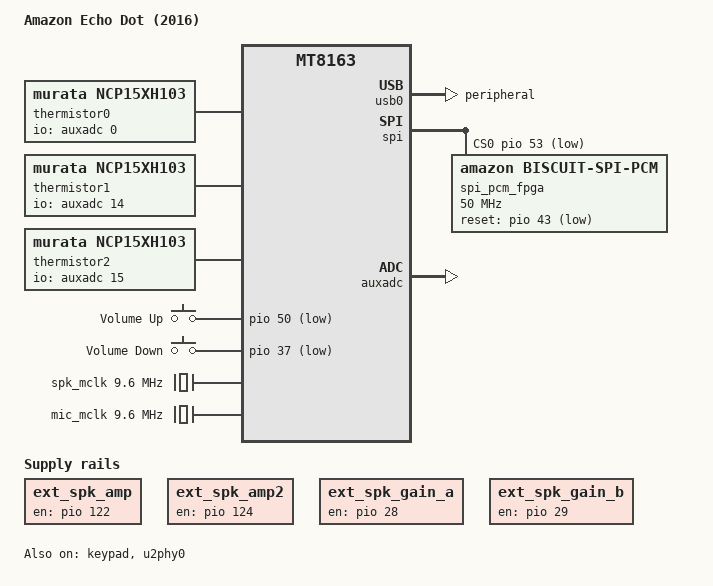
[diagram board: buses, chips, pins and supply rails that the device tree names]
// SPDX-License-Identifier: GPL-2.0-only OR MIT
/*
 * Copyright (c) 2025-2026 Ben Grisdale <bengris32@protonmail.ch>
 */

/dts-v1/;
#include <dt-bindings/gpio/gpio.h>
#include <dt-bindings/input/input.h>
#include <dt-bindings/leds/common.h>

#include "mt8163-amazon-common.dtsi"
#include "mt8163-headless.dtsi"
#include "mt8163-amazon-biscuit-peripherals.dtsi"

/ {
	model = "Amazon Echo Dot (2016)";
	compatible = "amazon,biscuit", "mediatek,mt8163";
	chassis-type = "embedded";
	/* Needed by stock bootloader */
	version = "evt";

	/*
	 * The 12-LED RGB light ring, grouped.
	 *
	 * The IS31FL3236 driver exposes the ring as 36 independent
	 * single-colour channels (biscuit:ringN:{red,green,blue}), labelled in
	 * mt8163-amazon-biscuit-peripherals.dtsi. leds-group-multicolor fuses
	 * each ring's three channels into one LED_COLOR_ID_MULTI device so a
	 * colour and a single brightness can be set per physical LED, which is
	 * how the ring is meant to be driven.
	 *
	 * This grouping was dropped once before because the appended DTB grew
	 * past the stock bootloader's IDME/FDT-injection size limit and was
	 * silently discarded. We no longer boot that way - u-boot loads the DTB
	 * from raw sectors of the recovery partition - so it can come back.
	 */
	led-ring-mc {
		compatible = "simple-bus";

		led-ring1 { compatible = "leds-group-multicolor"; color = <LED_COLOR_ID_RGB>; function = "ring1";
			leds = <&ring1_red>, <&ring1_green>, <&ring1_blue>; };
		led-ring2 { compatible = "leds-group-multicolor"; color = <LED_COLOR_ID_RGB>; function = "ring2";
			leds = <&ring2_red>, <&ring2_green>, <&ring2_blue>; };
		led-ring3 { compatible = "leds-group-multicolor"; color = <LED_COLOR_ID_RGB>; function = "ring3";
			leds = <&ring3_red>, <&ring3_green>, <&ring3_blue>; };
		led-ring4 { compatible = "leds-group-multicolor"; color = <LED_COLOR_ID_RGB>; function = "ring4";
			leds = <&ring4_red>, <&ring4_green>, <&ring4_blue>; };
		led-ring5 { compatible = "leds-group-multicolor"; color = <LED_COLOR_ID_RGB>; function = "ring5";
			leds = <&ring5_red>, <&ring5_green>, <&ring5_blue>; };
		led-ring6 { compatible = "leds-group-multicolor"; color = <LED_COLOR_ID_RGB>; function = "ring6";
			leds = <&ring6_red>, <&ring6_green>, <&ring6_blue>; };
		led-ring7 { compatible = "leds-group-multicolor"; color = <LED_COLOR_ID_RGB>; function = "ring7";
			leds = <&ring7_red>, <&ring7_green>, <&ring7_blue>; };
		led-ring8 { compatible = "leds-group-multicolor"; color = <LED_COLOR_ID_RGB>; function = "ring8";
			leds = <&ring8_red>, <&ring8_green>, <&ring8_blue>; };
		led-ring9 { compatible = "leds-group-multicolor"; color = <LED_COLOR_ID_RGB>; function = "ring9";
			leds = <&ring9_red>, <&ring9_green>, <&ring9_blue>; };
		led-ring10 { compatible = "leds-group-multicolor"; color = <LED_COLOR_ID_RGB>; function = "ring10";
			leds = <&ring10_red>, <&ring10_green>, <&ring10_blue>; };
		led-ring11 { compatible = "leds-group-multicolor"; color = <LED_COLOR_ID_RGB>; function = "ring11";
			leds = <&ring11_red>, <&ring11_green>, <&ring11_blue>; };
		led-ring12 { compatible = "leds-group-multicolor"; color = <LED_COLOR_ID_RGB>; function = "ring12";
			leds = <&ring12_red>, <&ring12_green>, <&ring12_blue>; };
	};

	/*
	 * Board thermistors. Amazon's downstream driver models these as a
	 * proprietary "virtual_sensor_thermistor", but the hardware is plain:
	 * three 10k NTCs, each pulled up to 1.8V through 10k into an AUXADC
	 * input (their mtk_ts_board_biscuit.h: pull_up_R=10000,
	 * pull_up_voltage=1800, channels AUX_IN 0/14/15).
	 *
	 * Their comments claim "100K" but the parts are 10k: the same header
	 * gives 195652 ohm as the -40C reference, and 195652 is exactly the
	 * first entry of mainline's ncpXXxh103 table (a 100k part is ~4M at
	 * -40C). Measured, the three channels sit at 611-646mV, which through
	 * R = pullup_ohm * V / (pullup_uv - V) - the very formula their
	 * mtk_ts_bts.c used - is ~5.4k, i.e. ~37C on a 10k curve and a
	 * nonsensical ~105C on a 100k one. So: murata,ncp15xh103.
	 */
	thermistor0: thermistor-0 {
		compatible = "murata,ncp15xh103";
		pullup-uv = <1800000>;
		pullup-ohm = <10000>;
		pulldown-ohm = <0>;
		io-channels = <&auxadc 0>;
	};

	thermistor1: thermistor-1 {
		compatible = "murata,ncp15xh103";
		pullup-uv = <1800000>;
		pullup-ohm = <10000>;
		pulldown-ohm = <0>;
		io-channels = <&auxadc 14>;
	};

	thermistor2: thermistor-2 {
		compatible = "murata,ncp15xh103";
		pullup-uv = <1800000>;
		pullup-ohm = <10000>;
		pulldown-ohm = <0>;
		io-channels = <&auxadc 15>;
	};
	/*
	 * External speaker amplifier enable. Amazon's stock audio driver
	 * asserts this by selecting the "extamp-pullhigh" pinctrl state
	 * (AudDrv_GPIO_EXTAMP_Select(1)); "extamp-pulllow" drives it low to
	 * mute. Mainline's mt8163 pinctrl (pinctrl-mtk-common) does not
	 * implement PIN_CONFIG_OUTPUT, so an output-high pinctrl group would be
	 * silently ignored here - drive the pin through a fixed regulator
	 * instead, which requests the GPIO after the gpiochip is up (a gpio-hog
	 * fails with -EPROBE_DEFER during gpiochip_add and takes the whole
	 * pinctrl driver down with it).
	 *
	 * The pin is GPIO 122, not 124. biscuit.dtsi is the pre-EVT board file
	 * and puts extamp on 124, but both shipping board files override that
	 * group: biscuit_evt.dts:45-60 and biscuit_min_evt.dts:45-60 redefine
	 * aud_pins_extamp_high/_low as MT8163_PIN_122_MSDC1_CLK__FUNC_GPIO122,
	 * and introduce GPIO 124 as a separate signal - the DAC mux, see
	 * ext_spk_dacmux below. Driving 124 therefore left the amplifier's
	 * enable line untouched in MSDC1_CLK mode, which is why the aic32x4
	 * could be register-for-register identical to stock and still silent.
	 */
	ext_spk_amp: regulator-ext-spk-amp {
		compatible = "regulator-fixed";
		regulator-name = "ext-spk-amp";
		gpio = <&pio 122 GPIO_ACTIVE_HIGH>;
		enable-active-high;
		/*
		 * Deliberately not always-on. The amplifier has audible
		 * self-noise with nothing driving it, so holding it enabled
		 * makes the speaker hiss continuously. Stock enables it only
		 * while a speaker stream is open and refcounts it
		 * (AudioALSACodecDeviceOutExtSpeakerAmp::open/close writes
		 * Ext_Speaker_Amp_Switch On/Off); the machine driver does the
		 * same from its DAPM supply widget.
		 */
	};

	/*
	 * DAC output mux (stock: aud_pins_extamp_dacmux_high/_low, added in
	 * biscuit_evt.dts:62-76, exposed to userspace as the mixer control
	 * "Audio_DacMux_Setting"). Stock never selects either state at boot and
	 * initialises its shadow to false, so the pad keeps its reset default;
	 * mirror that by leaving this regulator off unless something asks for
	 * it, rather than pinning it high the way the old 124 amp node did.
	 */
	/*
	 * Second amplifier enable, on GPIO 124.
	 *
	 * The extracted OTA device tree (amzn0_full.dts) is the authority for
	 * this exact board: its audio node's "extamp-pullhigh"/"extamp-pulllow"
	 * pinctrl states drive GPIO 124 (pins = <0x7c00>), and GPIO 122 is never
	 * referenced anywhere in it. The pre-EVT source files put extamp on 122,
	 * which is where our first ext_spk_amp came from, but the shipped
	 * firmware uses 124 - so drive both, DAPM-gated the same way, until a
	 * listen test says which one actually gates the amp. Named separately so
	 * the machine driver can pull it up as its own supply widget.
	 */
	ext_spk_amp2: regulator-ext-spk-amp2 {
		compatible = "regulator-fixed";
		regulator-name = "ext-spk-amp2";
		gpio = <&pio 124 GPIO_ACTIVE_HIGH>;
		enable-active-high;
	};

	/*
	 * External amplifier gain select, GPIOs 28 and 29.
	 *
	 * Stock's AudDrv_GPIO_EXTAMP_Gain_Set(3) drives both high for gain 3 on
	 * every speaker-on (audexampgain3: pins <0x1c00>=GPIO28 and <0x1d00>=
	 * GPIO29, both output-high). Our port drove neither, leaving the pads
	 * floating - an amplifier gain input left to float can sit anywhere,
	 * including a mute/shutdown code. Hold both high (gain 3) for the whole
	 * session via always-on regulators; the gain input is harmless while the
	 * amp enable is de-asserted, so it does not need DAPM gating. Regulators
	 * (not gpio-hogs) so the pinctrl gpiochip is fully up before the pad is
	 * requested - a hog on &pio takes the whole pinctrl driver down.
	 */
	ext_spk_gain_a: regulator-ext-spk-gain-a {
		compatible = "regulator-fixed";
		regulator-name = "ext-spk-gain-a";
		gpio = <&pio 28 GPIO_ACTIVE_HIGH>;
		enable-active-high;
		regulator-always-on;
		regulator-boot-on;
	};

	ext_spk_gain_b: regulator-ext-spk-gain-b {
		compatible = "regulator-fixed";
		regulator-name = "ext-spk-gain-b";
		gpio = <&pio 29 GPIO_ACTIVE_HIGH>;
		enable-active-high;
		regulator-always-on;
		regulator-boot-on;
	};

	gpio-keys {
		compatible = "gpio-keys";
		pinctrl-names = "default";
		pinctrl-0 = <&gpio_keys_pins_default>;

		key-volume-up {
			label = "Volume Up";
			linux,code = <KEY_VOLUMEUP>;
			gpios = <&pio 50 GPIO_ACTIVE_LOW>;
			debounce-interval = <20>;
		};

		/*
		 * Stock biscuit.dtsi wires this as a plain gpio-keys button on
		 * GPIO37 (volumedn@114, gpios = <&pio 37 1>), NOT through the KPD
		 * matrix - our &keypad node below had pinmuxed this same pin to
		 * KPCOL1 and claimed it as a MATRIX_KEY, which is a real pinmux
		 * conflict with this node's plain-GPIO claim on the same pin.
		 * Moved here to match stock exactly; see keypad_pins_default.
		 */
		key-volume-down {
			label = "Volume Down";
			linux,code = <KEY_VOLUMEDOWN>;
			gpios = <&pio 37 GPIO_ACTIVE_LOW>;
			debounce-interval = <20>;
		};
	};
};

&keypad {
	/*
	 * KEY_VOLUMEDOWN removed - see key-volume-down in gpio-keys above.
	 * KEY_ASSISTANT is unverified: stock reads the Dot/Assistant button
	 * through Amazon's proprietary kpd.c hw-scan-code table
	 * (mediatek,kpd-hw-init-map = <138 ...>). Whether pin 36/KPCOL0 carries
	 * the same physical button wired to a plain matrix contact, or
	 * something else entirely, is unconfirmed - needs a press tested
	 * against evtest once evdev is enabled, not assumed.
	 */
	linux,keymap = <MATRIX_KEY(0x00, 0x00, KEY_ASSISTANT)>;

	keypad,num-rows = <1>;
	keypad,num-columns = <1>;
	debounce-delay-ms = <20>;

	pinctrl-names = "default";
	pinctrl-0 = <&keypad_pins_default>;

	status = "okay";
};

&mt6323keys {
	/*
	 * Stock has no separate power button - this board wires the PMIC's
	 * dedicated hardware PWRKEY comparator pin to the physical mute
	 * switch instead, and its own vendor kpd.c driver remaps that slot to
	 * KEY_MUTE (mediatek,kpd-sw-pwrkey = <113> in Amazon's biscuit.dtsi).
	 * Confirmed via the stock button_config.json used by their userspace
	 * buttond: "mute" is keyCode 113 (KEY_MUTE) EV_KEY, matching exactly.
	 * mtk-pmic-keys.c is mainline's driver for this same PMIC hardware -
	 * same physical pin/comparator/IRQ, just the standard upstream path
	 * instead of Amazon's vendor kpd.c. "home" (the PMIC's second,
	 * separate comparator pin) is left at its inherited default; nothing
	 * on this board is confirmed wired to it.
	 */
	power {
		linux,keycodes = <KEY_MUTE>;
	};
};

&mt6323_vusb_reg {
	regulator-always-on;
};

&watchdog {
	/*
	 * No bark interrupt. With it, mtk_wdt runs in dual (pretimeout) mode,
	 * where the first stage is half the timeout - exactly the interval
	 * systemd uses to ping (RuntimeWatchdogSec / 2). Pings then race the
	 * stage boundary, and the board reset every ~2 minutes of uptime.
	 */
	/delete-property/ interrupts;
};

&thermal {
	status = "okay";
};

&u2phy0 {
	status = "okay";
};

&usb0 {
	/* No 5V supply for OTG support. */
	dr_mode = "peripheral";
	status = "okay";
};

&pio {
	gpio_keys_pins_default: gpio-keys-pins {
		pins {
			pinmux = <MT8163_PIN_50_EINT18__FUNC_GPIO50>,
				 <MT8163_PIN_37_KPCOL1__FUNC_GPIO37>;
			bias-pull-up;
			input-enable;
		};
	};

	keypad_pins_default: keypad-pins {
		pins {
			pinmux = <MT8163_PIN_36_KPCOL0__FUNC_KPCOL0>;
			input-enable;
		};
	};
};

/*
 * amazon-common.dtsi declares all 512MB (0x40000000 + 0x20000000), but the
 * top of that range is not ours: LK reports mblock[0] as 0x1f800000, the ATF
 * log buffer sits at 0x5f800000, and everything from 0x5fa00000 up is locked
 * by the EMI MPU - the kernel faults if it actually touches it.
 *
 * Override rather than add a second node: the kernel walks every node with
 * device_type = "memory" and adds them all to memblock, so a new one would
 * declare the same RAM twice and reintroduce the range we are trying to
 * exclude.
 */
&memory {
	reg = <0 0x40000000 0 0x1f800000>;
};

/*
 * Keep the rails the stock kernel keeps.
 *
 * Nothing in this devicetree claims these as supplies yet, so
 * regulator_init_complete() switches them off as "unused" - the log line
 * "va: disabling / vgp2: disabling / vcamaf: disabling" is the kernel
 * cutting power to peripherals we are trying to talk to. Once that happens
 * the IS31FL3236 stops ACKing on i2c0 (write returns -ENXIO) and the
 * TLV320 codecs report invalid supply voltages.
 *
 * biscuit.dtsi in the FireOS 3.18 source marks all of these always-on, so
 * mirror it rather than guess which peripheral sits on which rail. These
 * can be narrowed later by giving each consumer a proper *-supply phandle.
 */
&mt6323_va_reg        { regulator-always-on; };
&mt6323_vgp1_reg      { regulator-always-on; };
&mt6323_vgp2_reg      { regulator-always-on; };
&mt6323_vcamaf_reg    { regulator-always-on; };
&mt6323_vmch_reg      { regulator-always-on; };
&mt6323_vemc3v3_reg   { regulator-always-on; };
&mt6323_vio18_reg     { regulator-always-on; };
&mt6323_vio28_reg     { regulator-always-on; };
&mt6323_vm_reg        { regulator-always-on; };
&mt6323_vmc_reg       { regulator-always-on; };

/ {
	/*
	 * The mic array's master clock.
	 *
	 * Physically this is the CMMCLK pad, driven by the camera SENINF timing
	 * generator and divided down to 9.6MHz (see mt8163-spi-fpga-pcm.c,
	 * which programs SENINF_TG1_*). There is no Linux clock provider for
	 * it, so model it as a fixed clock at the frequency that block is
	 * programmed to produce - the ADC3101s need a truthful rate to compute
	 * their PLL dividers from. The old nodes claimed clk26m, which is not
	 * what the pin carries.
	 */
	/*
	 * The speaker codec's master clock.
	 *
	 * The speaker codec and the mic ADCs share ONE master clock: the
	 * CMMCLK pad (pin 119), driven by the camera SENINF divider at 9.6MHz.
	 * Amazon's machine driver hands the aic32x4 mt_soc_mclk_freq, which is
	 * AIC31XX_FREQ_9600000, exactly as it does for the ADCs - and their
	 * device tree never muxes pin 15 at all, so I2S1_MCK is not involved.
	 * The node used to claim clk26m, so the codec computed PLL dividers
	 * for a 26MHz clock it never receives.
	 */
	spk_mclk: spk-mclk {
		compatible = "fixed-clock";
		#clock-cells = <0>;
		clock-frequency = <9600000>;
		clock-output-names = "spk_mclk";
	};

	mic_mclk: mic-mclk {
		compatible = "fixed-clock";
		#clock-cells = <0>;
		clock-frequency = <9600000>;
		clock-output-names = "mic_mclk";
	};
};

/*
 * Mic-array FPGA. SPI0 is otherwise unused on this board.
 */
&spi {
	pinctrl-names = "default";
	pinctrl-0 = <&spi_pins_default>;
	/* Software chip-select: keeps CS low across the entire bitstream
	 * transfer while the FPGA is being configured (see spi-pins comment). */
	cs-gpios = <&pio 53 GPIO_ACTIVE_LOW>;
	status = "okay";

	spi_pcm_fpga: audio-fpga@0 {
		compatible = "amazon,biscuit-spi-pcm";
		reg = <0>;
		spi-max-frequency = <50000000>;
		#sound-dai-cells = <0>;

		reset-gpios = <&pio 43 GPIO_ACTIVE_LOW>;

		pinctrl-names = "idle", "active", "mclk";
		pinctrl-0 = <&aud_pins_i2s1_idle>;
		pinctrl-1 = <&aud_pins_i2s1_active>;
		pinctrl-2 = <&aud_pins_fpga_mclk>;

		/*
		 * FPGA reference clock = the CMMCLK pad, which on MT8163 is
		 * driven by the camera SENINF (sensor interface) timing
		 * generator, NOT by CAMTG_SEL alone. Matching Amazon's stock
		 * mt_amzn_mclk.c (GPL kernel source): the driver must power the
		 * ISP domain, enable the imgsys sensor clocks, set CAMTG_SEL to
		 * UNIVPLL_D26 (48 MHz), and program the SENINF TG1 divider to
		 * emit 9.6 MHz on the pad. Without the SENINF programming the
		 * FPGA gets no clock and reads back revision 0.
		 *
		 * mclk      = CAMTG_SEL (set to 48 MHz in the driver)
		 * sen_tg    = the SENINF timing generator that drives the pad
		 * sen_cam/larb2_smi/cam_smi = imgsys register-bus/sensor clocks
		 *             needed to reach the SENINF registers (ISP domain)
		 */
		clocks = <&topckgen CLK_TOP_CAMTG_SEL>,
			 <&imgsys CLK_IMG_SEN_TG>,
			 <&imgsys CLK_IMG_SEN_CAM>,
			 <&imgsys CLK_IMG_LARB2_SMI>,
			 <&imgsys CLK_IMG_CAM_SMI>;
		clock-names = "mclk", "sen_tg", "sen_cam", "larb2_smi", "cam_smi";
		power-domains = <&spm MT8163_POWER_DOMAIN_ISP>;
	};
};

/*
 * Firmware for the mic-array FPGA (bitstream/config, not a Linux driver
 * module). Amazon's biscuit_defconfig: CONFIG_EXTRA_FIRMWARE =
 * "i2s_to_spi_v34.bin". Not yet extracted from the stock Fire OS
 * partitions - request_firmware() will fail until
 * /lib/firmware/i2s_to_spi_v34.bin is populated on the target rootfs.
 */

&auxadc {
	status = "okay";
};
